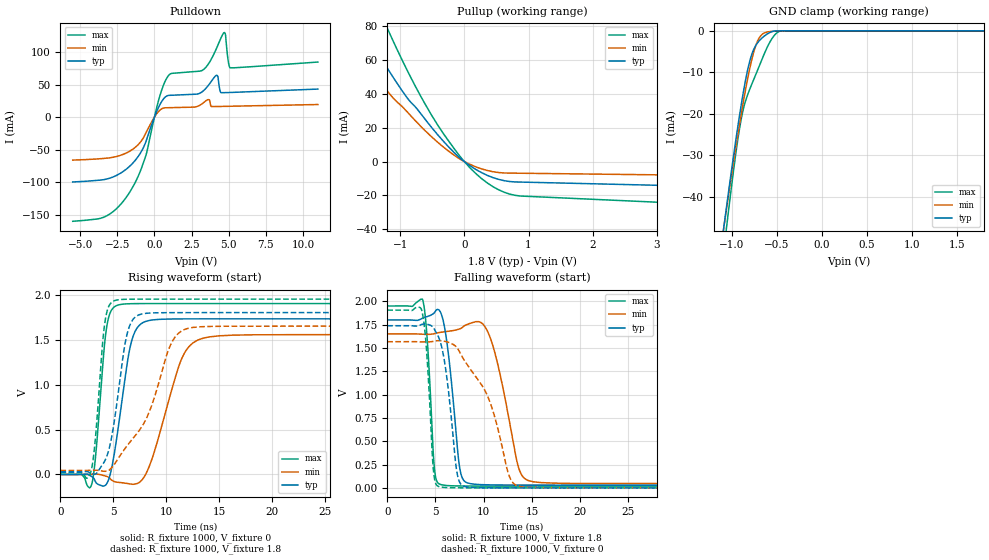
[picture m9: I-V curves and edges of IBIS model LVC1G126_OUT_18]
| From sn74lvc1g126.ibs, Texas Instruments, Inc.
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[Model]   LVC1G126_OUT_18
Model_type  3-state
Enable   Active-Low
Vref =   0
Rref =   1000
Cref =   30p
Vmeas =   0.9
| variable   typ   min   max
C_comp   6.10pF   5.33pF   6.95pF
| C_pullup   9.02pF   6.44pF   10.16pF
| C_pulldown   10.67pF   6.93pF   16.57pF
| C_tri-state   6.10pF   5.33pF   6.95pF
[Temperature Range]   40   100   -40
| Ambient temperature   25   85   -40
[Voltage range]   1.8   1.65   1.95
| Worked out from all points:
|   slope of the pulldown table from 0 to 0.27 V, typ, clamps not added: 18.3 ohm
|   slope of the pullup table from 0 to 0.27 V, typ, clamps not added: 40.9 ohm
|   GND clamp passes 1 mA (typ) near -0.62 V on its own axis
|   rising waveform, R_fixture 1000, V_fixture 0: 20-80 % time 1.29ns typ, 2.29ns min, 781ps max; typ from 0 V to 1.73 V
|   falling waveform, R_fixture 1000, V_fixture 1.8: 20-80 % time 986ps typ, 1.84ns min, 592ps max; typ from 1.8 V to 0.029 V
|   rising waveform, R_fixture 1000, V_fixture 1.8: 20-80 % time 1.31ns typ, 3.44ns min, 763ps max; typ from 0.029 V to 1.8 V
|   falling waveform, R_fixture 1000, V_fixture 0: 20-80 % time 1.13ns typ, 3.43ns min, 620ps max; typ from 1.74 V to 0 V
[GND Clamp]
| LVC1G126_OUT_18
|   Voltage   I(typ)   I(min)   I(max)
-5.5V     -902.1mA   -833.8mA   -1.025A
-1.09V    -47.14mA   -47.23mA   -52.73mA
-1.06V    -42.25mA   -42.74mA   -47.19mA
-955mV    -25.93mA   -27.7mA    -29.15mA
-905mV    -18.83mA   -21.02mA   -22.13mA
-860mV    -13.08mA   -15.41mA   -17.67mA
-790mV    -6.328mA   -7.838mA   -13.39mA
-730mV    -3.328mA   -3.204mA   -10.23mA
-680mV    -2.005mA   -1.173mA   -7.581mA
-585mV    -464.2uA   -204.2uA   -2.946mA
-495mV    -16.68uA   -77.89uA   -381uA
1.8V      7.416pA    26.18nA    354.4pA
[Pulldown]
| LVC1G126_OUT_18
|   Voltage   I(typ)   I(min)   I(max)
-5.5V     -99.55mA   -65.97mA   -159.9mA
-3.43V    -96.07mA   -63.44mA   -153.9mA
-2.095V   -83.27mA   -57.07mA   -129.1mA
-850mV    -51.57mA   -35.56mA   -76.96mA
175mV     9.941mA    5.829mA    16.72mA
835mV     32.53mA    14.41mA    60.11mA
3.315V    40.85mA    22.44mA    73.24mA
4.195V    64.27mA    16.29mA    106.5mA
4.44V     38.83mA    16.4mA     119.6mA
4.685V    37.59mA    16.52mA    129.7mA
5.1V      37.87mA    16.72mA    75.64mA
11V       43.09mA    19.36mA    84.58mA
[Pullup]
| LVC1G126_OUT_18
|   Voltage   I(typ)   I(min)   I(max)
-5.5V     367.2mA    24.42mA    539.2mA
-4.86V    329.9mA    45.7mA     466.8mA
-4.7V     317.8mA    60.14mA    448.5mA
-4.61V    310.9mA    80.51mA    438.2mA
-2.04V    110.9mA    85.6mA     156.5mA
-1.905V   101.4mA    78.08mA    143.2mA
-1.635V   82.96mA    63.52mA    117.6mA
-1.225V   56.82mA    42.96mA    81.03mA
-125mV    4.072mA    2.889mA    5.986mA
270mV     -6.564mA   -4.322mA   -10.09mA
705mV     -11.78mA   -6.803mA   -19.2mA
11V       -21.15mA   -11.4mA    -37.74mA
[Ramp]
| LVC1G126_OUT_18
| variable   typ   min   max
dV/dt_r   1.12/1.38E-09   1.00/2.45E-09   1.23/8.44E-10
dV/dt_f   1.13/1.08E-09   1.04/2.05E-09   1.20/6.25E-10
R_load = 1000
[Rising Waveform]
| LVC1G126_OUT_18
R_fixture =   1000
C_fixture =   0
L_fixture =   0
V_fixture =   0
V_fixture_min = 0
V_fixture_max = 0
|   Time   V(typ)   V(min)   V(max)
0s        121.3pV    9.141nV    613.7pV
2.94ns    -21.94mV   2.816mV    -114.6mV
4.335ns   -109.1mV   -20.19mV   1.612V
5.415ns   482.1mV    -87.03mV   1.883V
6.49ns    1.36V      -103.8mV   1.899V
7.29ns    1.637V     -98.94mV   1.9V
8.58ns    1.716V     148.5mV    1.901V
11.48ns   1.73V      1.293V     1.901V
13.34ns   1.731V     1.51V      1.901V
50ns      1.731V     1.555V     1.901V
[Falling Waveform]
| LVC1G126_OUT_18
R_fixture =   1000
C_fixture =   0
L_fixture =   0
V_fixture =   1.8
V_fixture_min = 1.65
V_fixture_max = 1.95
|   Time   V(typ)   V(min)   V(max)
0s        1.8V       1.65V      1.95V
3.685ns   1.82V      1.647V     2.012V
4.165ns   1.837V     1.646V     1.56V
4.88ns    1.877V     1.653V     219.3mV
5.485ns   1.891V     1.667V     37.93mV
7.495ns   225.2mV    1.704V     20.46mV
8.275ns   54.69mV    1.751V     19.79mV
10.59ns   32.29mV    1.631V     19.29mV
14.6ns    29.7mV     79.14mV    19.24mV
50ns      29.47mV    44.73mV    19.23mV
[Rising Waveform]
| LVC1G126_OUT_18
R_fixture =   1000
C_fixture =   0
L_fixture =   0
V_fixture =   1.8
V_fixture_min = 1.65
V_fixture_max = 1.95
|   Time   V(typ)   V(min)   V(max)
0s        29.45mV    44.68mV    19.22mV
2.84ns    16.23mV    46.88mV    16.75mV
3.26ns    1.689mV    47.14mV    347.3mV
4.185ns   149.7mV    35.21mV    1.678V
5.135ns   629mV      119.5mV    1.934V
6.1ns     1.45V      287.6mV    1.948V
6.815ns   1.717V     396.3mV    1.95V
10.47ns   1.8V       1.458V     1.95V
11.97ns   1.8V       1.622V     1.95V
50ns      1.8V       1.65V      1.95V
[Falling Waveform]
| LVC1G126_OUT_18
R_fixture =   1000
C_fixture =   0
L_fixture =   0
V_fixture =   0
V_fixture_min = 0
V_fixture_max = 0
|   Time   V(typ)   V(min)   V(max)
0s        1.738V     1.567V     1.905V
3.57ns    1.752V     1.565V     1.905V
4.08ns    1.755V     1.565V     1.464V
4.785ns   1.719V     1.571V     189.5mV
5.315ns   1.618V     1.578V     15.05mV
6.115ns   1.23V      1.567V     3.182mV
7.22ns    170.1mV    1.504V     714.4uV
7.945ns   16.54mV    1.375V     327.7uV
13.58ns   130.3uV    18.07mV    13.05uV
50ns      16.16uV    39.19uV    6.589uV
